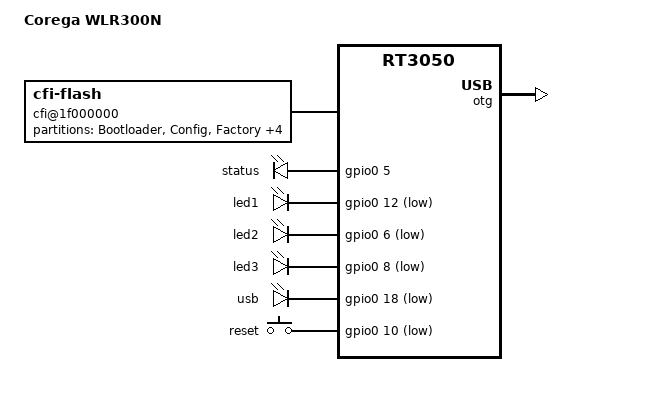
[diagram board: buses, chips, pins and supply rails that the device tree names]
/dts-v1/;

#include "rt3050.dtsi"

/ {
	compatible = "WLR300N", "ralink,rt3050-soc";
	model = "Corega WLR300N";

	cfi@1f000000 {
		compatible = "cfi-flash";
		reg = <0x1f000000 0x800000>;
		bank-width = <2>;
		device-width = <2>;
		#address-cells = <1>;
		#size-cells = <1>;

		partition@0 {
			label = "Bootloader";
			reg = <0x0 0x30000>;
			read-only;
		};
		devdata: partition@30000 {
			label = "Config";
			reg = <0x00030000 0x00010000>;
			read-only;
		};
		factory: partition@40000 {
			label = "Factory";
			reg = <0x00040000 0x00010000>;
			read-only;
		};

		partition@50000 {
			label = "firmware";
			reg = <0x00050000 0x00790000>;
		};
		partition@800000 {
			label = "upgrade";
			reg = <0x00050000 0x00790000>;
		};

		partition@7e0000 {
			label = "NVRAM";
			reg = <0x007e0000 0x00010000>;
		};
		partition@7f0000 {
			label = "NVRAM_FACTORY";
			reg = <0x007f0000 0x00010000>;
		};
	};

	gpio-leds {
		compatible = "gpio-leds";

		status {
			label = "status";
			gpios = <&gpio0 5 0>;
		};

		led1 {
			label = "led1";
			gpios = <&gpio0 12 1>;
		};

		led2 {
			label = "led2";
			gpios = <&gpio0 6 1>;
		};

		led3 {
			label = "led3";
			gpios = <&gpio0 8 1>;
		};

		led4 {
			label = "usb";
			gpios = <&gpio0 18 1>;
		};

	};
	gpio-keys-polled {
		compatible = "gpio-keys-polled";
		#address-cells = <1>;
		#size-cells = <0>;
		poll-interval = <20>;

		reset {
			label = "reset";
			gpios = <&gpio0 10 1>;
			linux,code = <0x198>;
		};

	};
};

&pinctrl {
	state_default: pinctrl0 {
		gpio {
			ralink,group = "i2c", "jtag", "uartf";
			ralink,function = "gpio";
		};

		rgmii {
			ralink,group = "rgmii";
			ralink,function = "rgmii";
		};

		mdio {
			ralink,group = "mdio";
			ralink,function = "mdio";
		};
	};
};
/*
&ethernet {
	mtd-mac-address = <&factory 0x28>;
};
*/

&esw {
	mediatek,portmap = <0x2f>;
};
/*
&wmac {
	ralink,mtd-eeprom = <&factory 0>;
};
*/
&otg {
	status = "okay";
};

